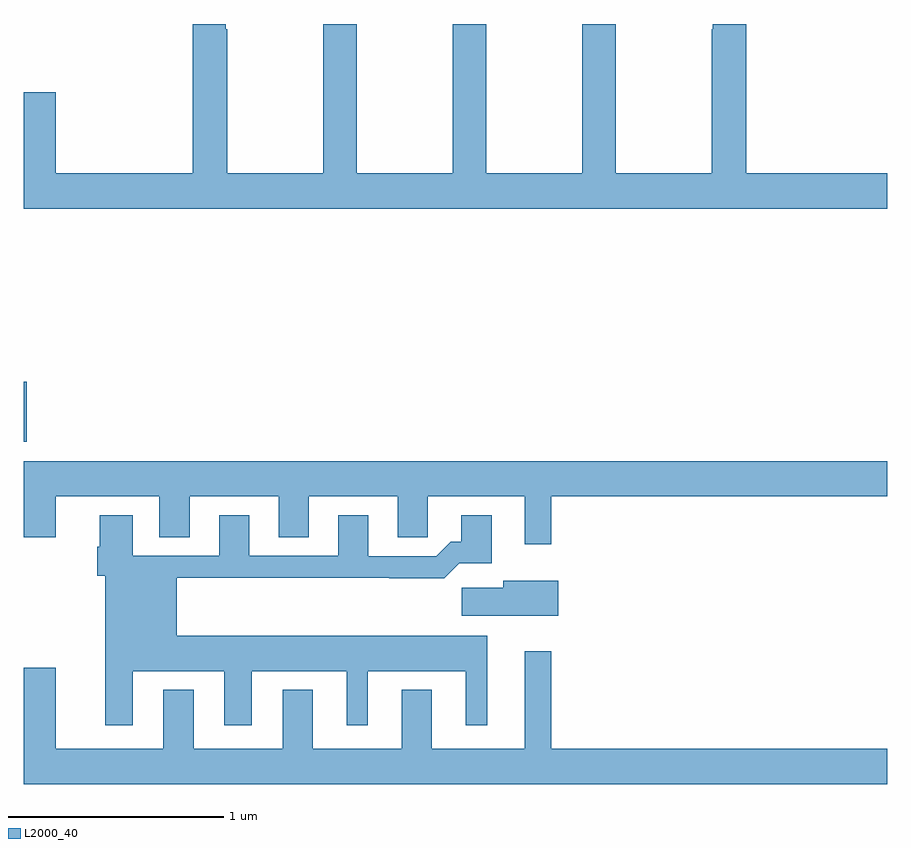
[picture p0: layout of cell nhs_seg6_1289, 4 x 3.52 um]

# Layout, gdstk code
import gdstk
lib = gdstk.Library(unit=1e-6, precision=1e-09)
def R(c, l, rs):  # rectangles x0, y0, x1, y1
    for r in rs: c.add(gdstk.rectangle(r[:2], r[2:], *l))
def P(c, l, *ps):  # polygons
    for p in ps: c.add(gdstk.Polygon(p, *l))
L2000_40 = (2000, 40)

nhs_seg6_1289 = lib.new_cell('nhs_seg6_1289')
R(nhs_seg6_1289, L2000_40, [(189,971.565,189.014,971.844)])
P(nhs_seg6_1289, L2000_40, [(193,972.808),(192.347,972.808),(192.347,973.5),(192.191,973.5),(192.191,973.475),(192.187,973.475),(192.187,972.808),(191.742,972.808),(191.742,973.5),(191.587,973.5),(191.587,972.808),(191.142,972.808),(191.142,973.5),(190.987,973.5),(190.987,972.808),(190.542,972.808),(190.542,973.5),(190.387,973.5),(190.387,972.808),(189.942,972.808),(189.942,973.475),(189.937,973.475),(189.937,973.5),(189.782,973.5),(189.782,972.808),(189.148,972.808),(189.148,973.183),(189,973.183),(189,972.644),(193,972.644)],
  [(191.443,971.312),(193,971.312),(193,971.476),(189,971.476),(189,971.124),(189.148,971.124),(189.148,971.312),(189.629,971.312),(189.629,971.122),(189.769,971.122),(189.769,971.312),(190.181,971.312),(190.181,971.122),(190.321,971.122),(190.321,971.312),(190.733,971.312),(190.733,971.122),(190.872,971.122),(190.872,971.312),(191.321,971.312),(191.321,971.091),(191.443,971.091)],
  [(189.505,970.502),(189.929,970.502),(189.929,970.251),(190.057,970.251),(190.057,970.502),(190.496,970.502),(190.496,970.251),(190.594,970.251),(190.594,970.502),(191.048,970.502),(191.048,970.251),(191.146,970.251),(191.146,970.666),(189.709,970.666),(189.709,970.936),(190.693,970.936),(190.693,970.934),(190.949,970.934),(191.018,971.003),(191.167,971.003),(191.167,971.224),(191.027,971.224),(191.027,971.101),(190.978,971.101),(190.911,971.034),(190.597,971.034),(190.597,971.224),(190.457,971.224),(190.457,971.037),(190.045,971.037),(190.045,971.224),(189.905,971.224),(189.905,971.037),(189.505,971.037),(189.505,971.224),(189.353,971.224),(189.353,971.078),(189.341,971.078),(189.341,970.944),(189.377,970.944),(189.377,970.251),(189.505,970.251)],
  [(191.476,970.921),(191.222,970.921),(191.222,970.889),(191.028,970.889),(191.028,970.76),(191.476,970.76)],
  [(193,970.144),(191.443,970.144),(191.443,970.594),(191.321,970.594),(191.321,970.144),(190.891,970.144),(190.891,970.417),(190.751,970.417),(190.751,970.144),(190.339,970.144),(190.339,970.417),(190.199,970.417),(190.199,970.144),(189.787,970.144),(189.787,970.417),(189.647,970.417),(189.647,970.144),(189.148,970.144),(189.148,970.519),(189,970.519),(189,969.98),(193,969.98)])

lib.write_gds('nhs_seg6_1289.gds')
